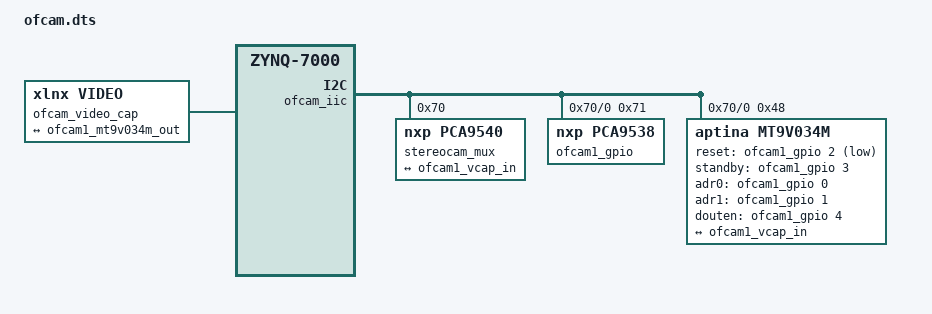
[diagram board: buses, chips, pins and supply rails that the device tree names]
/dts-v1/;
/plugin/;

/ {
    compatible = "xlnx,zynq-7000";

    fragment@0 {
        target-path = "/";
        __overlay__ {
            ofcams_clk: ofcams_clock@0 {
                compatible = "fixed-clock";
                #clock-cells = <0>;
                clock-frequency = <26600000>;
            };

            ofcams_peripherals_clk: ofcams_clock@1 {
                compatible = "fixed-clock";
                #clock-cells = <0>;
                clock-frequency = <100000000>;
            };
        };
    };

    fragment@1 {
        target = <&amba>;
        __overlay__ {
            #address-cells = <1>;
            #size-cells = <1>;

            ofcam_iic: i2c@41000000 {
                compatible = "xlnx,xps-iic-2.00.a";
                clocks = <&ofcams_peripherals_clk>;
                interrupt-parent = <&intc>;
                interrupts = < 0 29 4 >;
                reg = < 0x41000000 0x10000 >;
                #address-cells = <1>;
                #size-cells = <0>;

                stereocam_mux: i2c-switch@70 {
                    compatible = "nxp,pca9540";
                    #address-cells = <1>;
                    #size-cells = <0>;
                    reg = <0x70>;

                    i2c@0 {
                        #address-cells = <1>;
                        #size-cells = <0>;
                        reg = <0>;

                        ofcam1_gpio: gpio@71 {
                            compatible = "nxp,pca9538";
                            reg = <0x71>;
                            gpio-controller;
                            #gpio-cells = <2>;
                        };

                        mt9v034m: ofcam@48 {
                            compatible = "aptina,mt9v034m";
                            reg = <0x48>;
                            clocks = <&ofcams_clk>;

                            reset-gpios   = < &ofcam1_gpio 2 1 /*GPIO_ACTIVE_LOW */ >;
                            standby-gpios = < &ofcam1_gpio 3 0 /*GPIO_ACTIVE_HIGH*/ >;

                            adr0-gpios   = < &ofcam1_gpio 0 0 /*GPIO_ACTIVE_HIGH*/ >;
                            adr1-gpios   = < &ofcam1_gpio 1 0 /*GPIO_ACTIVE_HIGH*/ >;
                            douten-gpios = < &ofcam1_gpio 4 0 /*GPIO_ACTIVE_HIGH*/ >;

                            /* Enable LVDS output instead of parallel output (this is a non-mainline patch) */
                            lvds-mode;

                            /* Enable embedded syncs */
                            embedded-syncs;

                            ports {
                                #address-cells = <1>;
                                #size-cells = <0>;

                                port@0 {
                                    reg = <0>;
                                    ofcam1_mt9v034m_out: endpoint {
                                        remote-endpoint = <&ofcam1_vcap_in>;
                                    };
                                };
                            };
                        };
                    };

                    i2c@1 {
                        #address-cells = <1>;
                        #size-cells = <0>;
                        reg = <1>;
                    };
                };
            };

            ofcam_axi_vdma: dma@41010000 {
                #dma-cells = <1>;

                compatible = "xlnx,axi-vdma-1.00.a";

                interrupt-parent = <&intc>;
                interrupts = <0 30 4>;

                reg = <0x41010000 0x10000>;
                dma-ranges = <0x00000000 0x00000000 0x40000000>;

                xlnx,addrwidth = <32>;
                xlnx,flush-fsync = <0x1>;
                /* FIXME: Figure out why this doesn't work with more than one framestores */
                /* https://forums.xilinx.com/xlnx/board/crawl_message?board.id=ELINUX&message.id=13118 */
                xlnx,num-fstores = <0x1>;

                clocks = <&ofcams_peripherals_clk>;
                clock-names = "s_axi_lite_aclk";

                dma-channel@41010030 {
                    compatible = "xlnx,axi-vdma-s2mm-channel";
                    interrupts = <0 31 4>;
                    xlnx,datawidth = <0x20>;
                    xlnx,device-id = <0x0>;
                    /*xlnx,genlock-mode ;*/
                };
            };

            ofcam_video_cap {
                compatible = "xlnx,video";
                dmas = <&ofcam_axi_vdma 0>;
                dma-names = "port0";

                ports {
                    #address-cells = <1>;
                    #size-cells = <0>;

                    port@0 {
                        reg = <0>;
                        direction = "input";
                        ofcam1_vcap_in: endpoint {
                            remote-endpoint = <&ofcam1_mt9v034m_out>;
                        };
                    };
                };
            };
        };
    };
};
